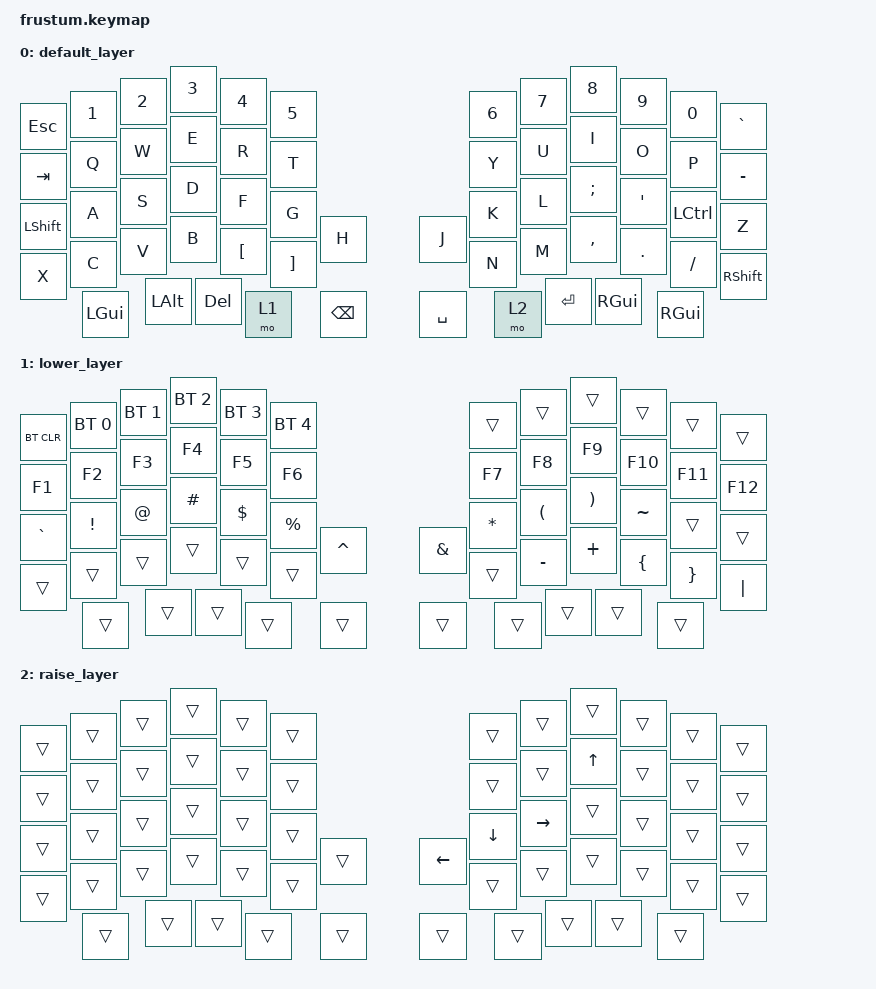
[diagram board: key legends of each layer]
/*
 * Copyright (c) 2020 The ZMK Contributors
 *
 * SPDX-License-Identifier: MIT
 */

#include <behaviors.dtsi>
#include <dt-bindings/zmk/keys.h>
#include <dt-bindings/zmk/bt.h>
#include <dt-bindings/zmk/ext_power.h>

/ {
    keymap {
        compatible = "zmk,keymap";

        default_layer {
// ------------------------------------------------------------------------------------------------------------
// |  ESC  |  1  |  2  |  3   |  4   |  5   |                   |  6   |  7    |  8    |  9   |   0   |   `   |
// |  TAB  |  Q  |  W  |  E   |  R   |  T   |                   |  Y   |  U    |  I    |  O   |   P   |   -   |
// | SHIFT |  A  |  S  |  D   |  F   |  G   |                   |  H   |  J    |  K    |  L   |   ;   |   '   |
// | CTRL  |  Z  |  X  |  C   |  V   |  B   |   "["  |  |  "]"  |  N   |  M    |  ,    |  .   |   /   | SHIFT |
//         | GUI | ALT |      | DEL  | LOWER|  BSPC  |  | SPACE | RAISE| ENTER |       | ALT  | GUI   |
            bindings = <
&kp ESC   &kp N1   &kp N2   &kp N3 &kp N4  &kp N5                      &kp N6 &kp N7    &kp N8    &kp N9   &kp N0   &kp GRAVE
&kp TAB   &kp Q    &kp W    &kp E  &kp R   &kp T                       &kp Y  &kp U     &kp I     &kp O    &kp P    &kp MINUS
&kp LSHFT &kp A    &kp S    &kp D  &kp F   &kp G                       &kp H  &kp J     &kp K     &kp L    &kp SEMI &kp SQT
&kp LCTRL &kp Z    &kp X    &kp C  &kp V   &kp B &kp LBKT    &kp RBKT  &kp N  &kp M     &kp COMMA &kp DOT  &kp FSLH &kp RSHFT
          &kp LGUI &kp LALT        &kp DEL &mo 1 &kp BSPC    &kp SPACE &mo 2  &kp ENTER           &kp RGUI &kp RGUI
            >;
        };

        lower_layer {
// ------------------------------------------------------------------------------------------------------------
// | BTCLR | BT1 | BT2 |  BT3 |  BT4 | BT5  |                   |      |       |       |      |       |       |
// |  F1   |  F2 |  F3 |  F4  |  F5  |  F6  |                   |  F7  |  F8   |  F9   |  F10 |  F11  |  F12  |
// |   `   |  !  |  @  |  #   |  $   |  %   |                   |  ^   |  &    |  *    |  (   |   )   |   ~   |
// |       |     |     |      |      |      |        |  |       |      |  _    |  +    |  {   |   }   |  "|"  |
//         |     |     |      |      |      |        |  |       |      |       |       |      |       |
            bindings = <
&bt BT_CLR &bt BT_SEL 0 &bt BT_SEL 1 &bt BT_SEL 2 &bt BT_SEL 3 &bt BT_SEL 4                  &trans    &trans    &trans    &trans   &trans   &trans
&kp F1     &kp F2       &kp F3       &kp F4       &kp F5       &kp F6                        &kp F7    &kp F8    &kp F9    &kp F10  &kp F11  &kp F12
&kp GRAVE  &kp EXCL     &kp AT       &kp HASH     &kp DOLLAR   &kp PRCNT                     &kp CARET &kp AMPS  &kp ASTRK &kp LPAR &kp RPAR &kp TILDE
&trans     &trans       &trans       &trans       &trans       &trans       &trans    &trans &trans    &kp MINUS &kp PLUS  &kp LBRC &kp RBRC &kp PIPE
           &trans       &trans                    &trans       &trans       &trans    &trans &trans    &trans              &trans   &trans
            >;
        };

        raise_layer {
// ------------------------------------------------------------------------------------------------------------
// |       |     |     |      |      |      |                   |      |       |       |      |       |       |
// |       |     |     |      |      |      |                   |      |       |  UP   |      |       |       |
// |       |     |     |      |      |      |                   |      | LEFT  | DOWN  | RIGHT|       |       |
// |       |     |     |      |      |      |        |  |       |      |       |       |      |       |       |
//         |     |     |      |      |      |        |  |       |      |       |       |      |       |
            bindings = <
&trans &trans &trans &trans &trans &trans                  &trans &trans   &trans   &trans    &trans &trans
&trans &trans &trans &trans &trans &trans                  &trans &trans   &kp UP   &trans    &trans &trans
&trans &trans &trans &trans &trans &trans                  &trans &kp LEFT &kp DOWN &kp RIGHT &trans &trans
&trans &trans &trans &trans &trans &trans &trans    &trans &trans &trans   &trans   &trans    &trans &trans
       &trans &trans        &trans &trans &trans    &trans &trans &trans            &trans    &trans
            >;
        };
    };
};
